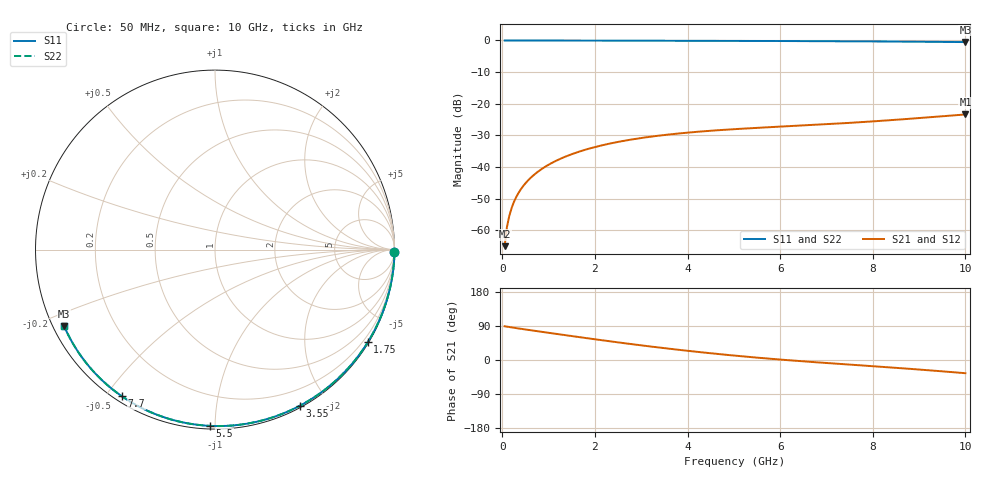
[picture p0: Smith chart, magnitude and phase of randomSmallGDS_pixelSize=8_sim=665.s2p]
! freq	dB(S11)	phase(S11)	dB(S12)	phase(S12)
!  dB(S21)	phase(S21)	dB(S22)	phase(S22)
!S-par simulation data
#  GHz  S  DB  R 50
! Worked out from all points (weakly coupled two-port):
!   200 points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, 50 MHz to 10 GHz, reference 50 ohm
!   highest |S21| = -23.40 dB at 10 GHz (marker M1); lowest = -65.0 dB at 50 MHz (marker M2)
!   lowest |S11| = -0.5 dB at 10 GHz (marker M3), VSWR 33.82, Z = 1.56 - j11.9 ohm
!   |S11| at or under -10 dB: nowhere
!   |S22| runs from -0.5 to 0.0 dB; largest |S21 - S12| = 0
!   S11 on the Smith chart (normalised r, x): 50 MHz: open; 1.75 GHz: 0.03, -3.58; 3.55 GHz: 0.02, -1.68; 5.5 GHz: 0.02, -0.97; 7.7 GHz: 0.02, -0.55; 10 GHz: 0.03, -0.24
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0.05  -0.00 -0.9  -65.04 89.0  -65.04 89.0  -0.00 -0.9
0.1  -0.00 -1.8  -59.03 88.0  -59.03 88.0  -0.00 -1.8
0.15  -0.00 -2.7  -55.51 87.0  -55.51 87.0  -0.00 -2.7
0.2  -0.00 -3.6  -53.03 86.0  -53.03 86.0  -0.00 -3.6
0.25  -0.00 -4.5  -51.11 85.1  -51.11 85.1  -0.00 -4.5
0.35  -0.00 -6.4  -48.21 83.2  -48.21 83.2  -0.00 -6.4
0.5  -0.01 -9.1  -45.16 80.5  -45.16 80.5  -0.01 -9.1
0.7  -0.01 -12.7  -42.29 77.0  -42.29 77.0  -0.01 -12.7
1  -0.02 -18.0  -39.29 71.8  -39.29 71.8  -0.02 -18.0
1.35  -0.03 -24.2  -36.81 65.7  -36.81 65.7  -0.03 -24.2
1.75  -0.04 -31.2  -34.73 58.9  -34.73 58.9  -0.04 -31.2
2.5  -0.06 -44.1  -32.07 46.5  -32.07 46.5  -0.06 -44.1
3.4  -0.08 -59.1  -30.06 32.7  -30.06 32.7  -0.08 -59.1
3.55  -0.09 -61.5  -29.81 30.5  -29.81 30.5  -0.09 -61.5
4.3  -0.11 -73.4  -28.77 20.3  -28.77 20.3  -0.11 -73.4
5.05  -0.13 -84.9  -28.01 11.2  -28.01 11.2  -0.13 -84.9
5.5  -0.15 -91.5  -27.63 6.3  -27.63 6.3  -0.15 -91.6
6.7  -0.21 -108.7  -26.71 -5.3  -26.71 -5.3  -0.21 -108.7
7.7  -0.28 -122.4  -25.87 -13.8  -25.87 -13.8  -0.28 -122.4
8.35  -0.34 -131.1  -25.24 -19.3  -25.24 -19.3  -0.34 -131.2
9.2  -0.42 -142.4  -24.32 -27.0  -24.32 -27.0  -0.42 -142.5
10  -0.51 -153.1  -23.40 -34.9  -23.40 -34.9  -0.51 -153.2
